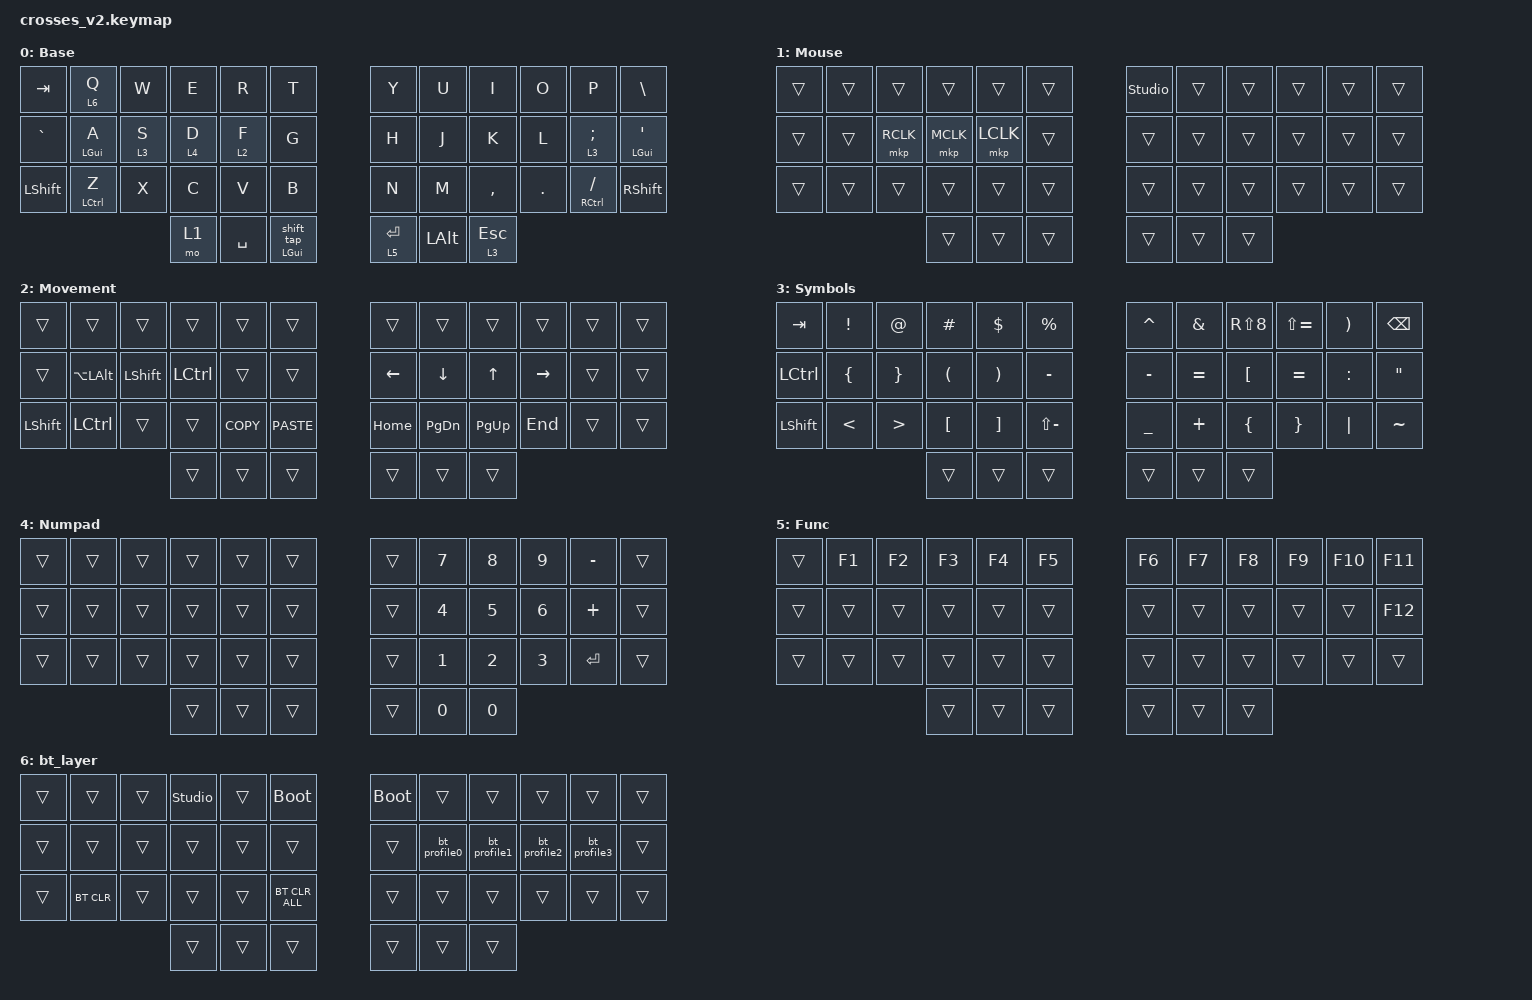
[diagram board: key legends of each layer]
#include <behaviors.dtsi>
#include <dt-bindings/zmk/bt.h>
#include <dt-bindings/zmk/keys.h>
#include <dt-bindings/zmk/outputs.h>
#include <dt-bindings/zmk/pointing.h>

/ {
    chosen { zmk,physical-layout = &gggw_crosses_42_layout; };

    combos {
        compatible = "zmk,combos";

        caps {
            bindings = <&caps_word>;
            key-positions = <28 31>;
        };

        studio {
            bindings = <&studio_unlock>;
            key-positions = <11 0>;
        };
    };

    behaviors {
        hml: hml {
            compatible = "zmk,behavior-hold-tap";
            label = "HML";
            bindings = <&kp>, <&kp>;

            #binding-cells = <2>;
            tapping-term-ms = <200>;
            quick-tap-ms = <175>;
            require-prior-idle-ms = <200>;
            flavor = "tap-preferred";
        };

        hmr: hmr {
            compatible = "zmk,behavior-hold-tap";
            label = "HMR";
            bindings = <&kp>, <&kp>;

            #binding-cells = <2>;
            tapping-term-ms = <200>;
            quick-tap-ms = <175>;
            require-prior-idle-ms = <200>;
            flavor = "tap-preferred";
        };

        hmd: hmd {
            compatible = "zmk,behavior-hold-tap";
            label = "HMD";
            bindings = <&kp>, <&kp>;

            #binding-cells = <2>;
            tapping-term-ms = <250>;
            quick-tap-ms = <175>;
            require-prior-idle-ms = <200>;
            flavor = "tap-preferred";
        };

        shift_tap: shift_tap {
            compatible = "zmk,behavior-mod-morph";
            label = "SHIFT_TAP";
            bindings = <&kp BACKSPACE>, <&kp DELETE>;

            #binding-cells = <0>;
            mods = <(MOD_LSFT|MOD_RSFT)>;
        };

        lt_shift_tap: lt_shift_tap {
            compatible = "zmk,behavior-hold-tap";
            label = "LT_SHIFT_TAP";
            bindings = <&kp>, <&shift_tap>;

            #binding-cells = <2>;
            tapping-term-ms = <200>;
            flavor = "tap-preferred";
        };
    };

    macros {
        bt_profile0: bt_profile0 {
            compatible = "zmk,behavior-macro";
            #binding-cells = <0>;
            bindings = <&out OUT_BLE &bt BT_SEL 0>;
            label = "BT_PROFILE0";
        };

        bt_profile1: bt_profile1 {
            compatible = "zmk,behavior-macro";
            #binding-cells = <0>;
            bindings = <&out OUT_BLE &bt BT_SEL 1>;
            label = "BT_PROFILE1";
        };

        bt_profile2: bt_profile2 {
            compatible = "zmk,behavior-macro";
            #binding-cells = <0>;
            bindings = <&out OUT_BLE &bt BT_SEL 2>;
            label = "BT_PROFILE2";
        };

        bt_profile3: bt_profile3 {
            compatible = "zmk,behavior-macro";
            #binding-cells = <0>;
            bindings = <&out OUT_BLE &bt BT_SEL 3>;
            label = "BT_PROFILE3";
        };
    };

    keymap {
        compatible = "zmk,keymap";

        default_layer {
            display-name = "Base";
            bindings = <
&kp TAB    &lt 6 Q          &kp W    &kp E    &kp R      &kp T                     &kp Y        &kp U         &kp I      &kp O    &kp P             &kp BACKSLASH
&kp GRAVE  &hml LEFT_GUI A  &lt 3 S  &lt 4 D  &lt 2 F    &kp G                     &kp H        &kp J         &kp K      &kp L    &lt 3 SEMICOLON   &mt LEFT_GUI SQT
&kp LSHFT  &hml LCTRL Z     &kp X    &kp C    &kp V      &kp B                     &kp N        &kp M         &kp COMMA  &kp DOT  &hmr RCTRL SLASH  &kp RIGHT_SHIFT
                                     &mo 1    &kp SPACE  &lt_shift_tap LEFT_GUI 0  &lt 5 ENTER  &kp LEFT_ALT  &lt 3 ESC
            >;
        };

        mouse_layer {
            display-name = "Mouse";
            bindings = <
&trans  &trans  &trans     &trans     &trans     &trans  &studio_unlock  &trans  &trans  &trans  &trans  &trans
&trans  &trans  &mkp RCLK  &mkp MCLK  &mkp LCLK  &trans  &trans          &trans  &trans  &trans  &trans  &trans
&trans  &trans  &trans     &trans     &trans     &trans  &trans          &trans  &trans  &trans  &trans  &trans
                           &trans     &trans     &trans  &trans          &trans  &trans
            >;
        };

        movement_layer {
            display-name = "Movement";
            bindings = <
&trans     &trans            &trans          &trans     &trans      &trans       &trans    &trans         &trans       &trans     &trans  &trans
&trans     &kp LA(LEFT_ALT)  &kp LEFT_SHIFT  &kp LCTRL  &trans      &trans       &kp LEFT  &kp DOWN       &kp UP       &kp RIGHT  &trans  &trans
&kp LSHFT  &kp LCTRL         &trans          &trans     &kp K_COPY  &kp K_PASTE  &kp HOME  &kp PAGE_DOWN  &kp PAGE_UP  &kp END    &trans  &trans
                                             &trans     &trans      &trans       &trans    &trans         &trans
            >;
        };

        symbols_layer {
            display-name = "Symbols";
            bindings = <
&kp TAB    &kp EXCL        &kp AT            &kp HASH              &kp DLLR               &kp PRCNT      &kp CARET  &kp AMPS   &kp RS(N8)  &kp LS(EQUAL)  &kp RPAR   &kp BSPC
&kp LCTRL  &kp LEFT_BRACE  &kp RIGHT_BRACE   &kp LEFT_PARENTHESIS  &kp RIGHT_PARENTHESIS  &kp MINUS      &kp MINUS  &kp EQUAL  &kp LBKT    &kp EQUAL      &kp COLON  &kp DOUBLE_QUOTES
&kp LSHFT  &kp LESS_THAN   &kp GREATER_THAN  &kp LEFT_BRACKET      &kp RIGHT_BRACKET      &kp LS(MINUS)  &kp UNDER  &kp PLUS   &kp LBRC    &kp RBRC       &kp PIPE   &kp TILDE
                                             &trans                &trans                 &trans         &trans     &trans     &trans
            >;
        };

        numpad_layer {
            display-name = "Numpad";
            bindings = <
&trans  &trans  &trans  &trans  &trans  &trans  &trans  &kp N7  &kp N8  &kp N9  &kp MINUS  &trans
&trans  &trans  &trans  &trans  &trans  &trans  &trans  &kp N4  &kp N5  &kp N6  &kp PLUS   &trans
&trans  &trans  &trans  &trans  &trans  &trans  &trans  &kp N1  &kp N2  &kp N3  &kp ENTER  &trans
                        &trans  &trans  &trans  &trans  &kp N0  &kp N0
            >;
        };

        func_layer {
            bindings = <
&trans  &kp F1  &kp F2  &kp F3  &kp F4  &kp F5  &kp F6  &kp F7  &kp F8  &kp F9  &kp F10  &kp F11
&trans  &trans  &trans  &trans  &trans  &trans  &trans  &trans  &trans  &trans  &trans   &kp F12
&trans  &trans  &trans  &trans  &trans  &trans  &trans  &trans  &trans  &trans  &trans   &trans
                        &trans  &trans  &trans  &trans  &trans  &trans
            >;

            label = "Func";
        };

        bt_layer {
            bindings = <
&trans  &trans      &trans  &studio_unlock  &trans  &bootloader     &bootloader  &trans        &trans        &trans        &trans        &trans
&trans  &trans      &trans  &trans          &trans  &trans          &trans       &bt_profile0  &bt_profile1  &bt_profile2  &bt_profile3  &trans
&trans  &bt BT_CLR  &trans  &trans          &trans  &bt BT_CLR_ALL  &trans       &trans        &trans        &trans        &trans        &trans
                            &trans          &trans  &trans          &trans       &trans        &trans
            >;
        };
    };
};
